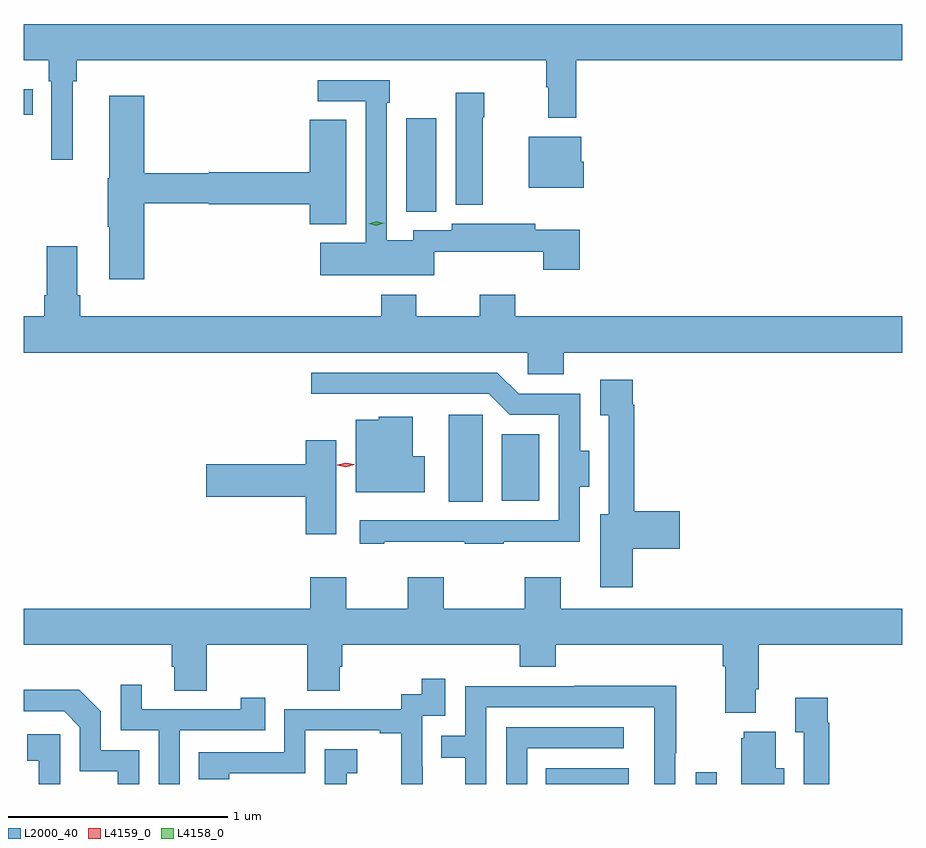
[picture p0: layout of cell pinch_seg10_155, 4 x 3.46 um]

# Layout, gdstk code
import gdstk
lib = gdstk.Library(unit=1e-6, precision=1e-09)
def R(c, l, rs):  # rectangles x0, y0, x1, y1
    for r in rs: c.add(gdstk.rectangle(r[:2], r[2:], *l))
def P(c, l, *ps):  # polygons
    for p in ps: c.add(gdstk.Polygon(p, *l))
L2000_40 = (2000, 40)
L4158_0 = (4158, 0)
L4159_0 = (4159, 0)

pinch_seg10_155 = lib.new_cell('pinch_seg10_155')
R(pinch_seg10_155, L2000_40, [(650.62,1283.699,650.998,1283.77), (651.303,1283.699,651.399,1283.752), (650.177,1284.985,650.332,1285.381), (650.42,1284.989,650.59,1285.291), (649.985,1286.305,650.122,1286.731), (648.243,1286.746,648.284,1286.862)])
P(pinch_seg10_155, L2000_40, [(648.466,1286.9),(648.485,1286.9),(648.485,1286.996),(650.623,1286.996),(650.623,1286.873),(650.631,1286.873),(650.631,1286.733),(650.759,1286.733),(650.759,1286.996),(652.243,1286.996),(652.243,1287.16),(648.243,1287.16),(648.243,1286.996),(648.356,1286.996),(648.356,1286.9),(648.369,1286.9),(648.369,1286.541),(648.466,1286.541)],
  [(650.112,1286.123),(650.609,1286.123),(650.609,1286.04),(650.774,1286.04),(650.774,1286.222),(650.572,1286.222),(650.572,1286.251),(650.192,1286.251),(650.192,1286.22),(650.016,1286.22),(650.016,1286.176),(649.896,1286.176),(649.896,1286.801),(649.909,1286.801),(649.909,1286.904),(649.581,1286.904),(649.581,1286.808),(649.8,1286.808),(649.8,1286.164),(649.593,1286.164),(649.593,1286.015),(650.112,1286.015)],
  [(650.332,1286.735),(650.34,1286.735),(650.34,1286.848),(650.21,1286.848),(650.21,1286.336),(650.332,1286.336)],
  [(648.791,1286.344),(649.086,1286.344),(649.086,1286.339),(649.544,1286.339),(649.544,1286.249),(649.711,1286.249),(649.711,1286.723),(649.544,1286.723),(649.544,1286.486),(649.086,1286.486),(649.086,1286.48),(648.791,1286.48),(648.791,1286.833),(648.632,1286.833),(648.632,1286.457),(648.625,1286.457),(648.625,1286.236),(648.632,1286.236),(648.632,1285.998),(648.791,1285.998)],
  [(650.794,1286.532),(650.782,1286.532),(650.782,1286.647),(650.543,1286.647),(650.543,1286.414),(650.794,1286.414)],
  [(650.48,1285.927),(650.32,1285.927),(650.32,1285.828),(650.031,1285.828),(650.031,1285.927),(649.871,1285.927),(649.871,1285.828),(648.5,1285.828),(648.5,1285.924),(648.487,1285.924),(648.487,1286.149),(648.347,1286.149),(648.347,1285.924),(648.335,1285.924),(648.335,1285.828),(648.243,1285.828),(648.243,1285.664),(650.538,1285.664),(650.538,1285.566),(650.702,1285.566),(650.702,1285.664),(652.243,1285.664),(652.243,1285.828),(650.48,1285.828)],
  [(649.885,1284.803),(650.251,1284.803),(650.251,1284.792),(650.429,1284.792),(650.429,1284.803),(650.775,1284.803),(650.775,1285.052),(650.818,1285.052),(650.818,1285.216),(650.776,1285.216),(650.776,1285.476),(650.496,1285.476),(650.4,1285.572),(649.551,1285.572),(649.551,1285.476),(650.361,1285.476),(650.457,1285.38),(650.679,1285.38),(650.679,1284.9),(649.773,1284.9),(649.773,1284.792),(649.885,1284.792)],
  [(651.017,1284.77),(651.229,1284.77),(651.229,1284.941),(651.023,1284.941),(651.023,1285.427),(651.016,1285.427),(651.016,1285.54),(650.867,1285.54),(650.867,1285.379),(650.907,1285.379),(650.907,1284.928),(650.867,1284.928),(650.867,1284.594),(651.017,1284.594)],
  [(650.068,1285.192),(650.014,1285.192),(650.014,1285.372),(649.86,1285.372),(649.86,1285.357),(649.754,1285.357),(649.754,1285.028),(650.068,1285.028)],
  [(649.666,1285.264),(649.526,1285.264),(649.526,1285.154),(649.074,1285.154),(649.074,1285.007),(649.526,1285.007),(649.526,1284.837),(649.666,1284.837)],
  [(651.577,1284.13),(651.59,1284.13),(651.59,1284.332),(652.243,1284.332),(652.243,1284.496),(650.689,1284.496),(650.689,1284.64),(650.525,1284.64),(650.525,1284.496),(650.155,1284.496),(650.155,1284.64),(649.991,1284.64),(649.991,1284.496),(649.711,1284.496),(649.711,1284.64),(649.547,1284.64),(649.547,1284.496),(648.243,1284.496),(648.243,1284.332),(648.917,1284.332),(648.917,1284.234),(648.929,1284.234),(648.929,1284.124),(649.077,1284.124),(649.077,1284.332),(649.534,1284.332),(649.534,1284.124),(649.681,1284.124),(649.681,1284.234),(649.694,1284.234),(649.694,1284.332),(650.501,1284.332),(650.501,1284.233),(650.666,1284.233),(650.666,1284.332),(651.425,1284.332),(651.425,1284.236),(651.437,1284.236),(651.437,1284.023),(651.577,1284.023)],
  [(650.06,1283.78),(650.058,1283.78),(650.058,1284.009),(650.163,1284.009),(650.163,1284.178),(650.055,1284.178),(650.055,1284.108),(649.962,1284.108),(649.962,1284.039),(649.428,1284.039),(649.428,1283.844),(649.039,1283.844),(649.039,1283.721),(649.179,1283.721),(649.179,1283.748),(649.524,1283.748),(649.524,1283.943),(649.865,1283.943),(649.865,1283.931),(649.961,1283.931),(649.961,1283.699),(650.06,1283.699)],
  [(648.954,1283.943),(649.343,1283.943),(649.343,1284.091),(649.232,1284.091),(649.232,1284.039),(648.781,1284.039),(648.781,1284.151),(648.684,1284.151),(648.684,1283.943),(648.858,1283.943),(648.858,1283.699),(648.954,1283.699)],
  [(650.349,1284.048),(651.114,1284.048),(651.114,1283.699),(651.21,1283.699),(651.21,1283.839),(651.213,1283.839),(651.213,1284.146),(650.749,1284.146),(650.749,1284.144),(650.253,1284.144),(650.253,1283.919),(650.143,1283.919),(650.143,1283.818),(650.253,1283.818),(650.253,1283.699),(650.349,1283.699)],
  [(648.768,1283.853),(648.594,1283.853),(648.594,1284.03),(648.496,1284.128),(648.243,1284.128),(648.243,1284.03),(648.426,1284.03),(648.498,1283.958),(648.498,1283.757),(648.671,1283.757),(648.671,1283.699),(648.768,1283.699)],
  [(651.911,1283.978),(651.904,1283.978),(651.904,1284.091),(651.755,1284.091),(651.755,1283.935),(651.795,1283.935),(651.795,1283.699),(651.911,1283.699)],
  [(650.535,1283.862),(650.974,1283.862),(650.974,1283.958),(650.439,1283.958),(650.439,1283.699),(650.535,1283.699)],
  [(651.706,1283.77),(651.667,1283.77),(651.667,1283.938),(651.521,1283.938),(651.521,1283.907),(651.509,1283.907),(651.509,1283.699),(651.706,1283.699)],
  [(648.408,1283.926),(648.258,1283.926),(648.258,1283.805),(648.311,1283.805),(648.311,1283.699),(648.408,1283.699)],
  [(649.713,1283.747),(649.762,1283.747),(649.762,1283.857),(649.614,1283.857),(649.614,1283.699),(649.713,1283.699)])
P(pinch_seg10_155, L4158_0, [(649.849,1286.241),(649.814,1286.25),(649.814,1286.25),(649.814,1286.25),(649.848,1286.261),(649.883,1286.253),(649.884,1286.253),(649.883,1286.252)])
P(pinch_seg10_155, L4159_0, [(649.71,1285.142),(649.671,1285.151),(649.671,1285.152),(649.671,1285.152),(649.709,1285.162),(649.748,1285.154),(649.748,1285.154),(649.748,1285.153)])

lib.write_gds('pinch_seg10_155.gds')
